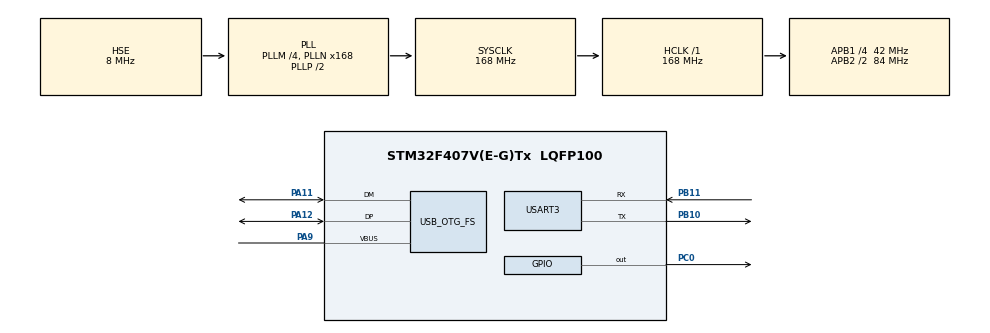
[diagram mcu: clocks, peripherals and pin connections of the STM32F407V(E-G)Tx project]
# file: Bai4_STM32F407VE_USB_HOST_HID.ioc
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Mcu.Family=STM32F4
PH0-OSC_IN.Signal=RCC_OSC_IN
RCC.CortexFreq_Value=168000000
PB10.Mode=Asynchronous
USB_HOST0.BSP.solution=PC0
USB_HOST.BSP.number=1
PA11.Mode=Host_Only
PC0.Signal=GPIO_Output
RCC.APB1CLKDivider=RCC_HCLK_DIV4
PB11.Signal=USART3_RX
VP_USB_HOST_VS_USB_HOST_HID_FS.Mode=HID_FS
RCC.SYSCLKSource=RCC_SYSCLKSOURCE_PLLCLK
ProjectManager.StackSize=0x400
USB_HOST0.BSP.STBoard=false
PA13.Signal=SYS_JTMS-SWDIO
PA9.Mode=Activate_VBUS
PA12.Signal=USB_OTG_FS_DP
PB11.Mode=Asynchronous
ProjectManager.TargetToolchain=MDK-ARM V5
RCC.HCLKFreq_Value=168000000
RCC.APB2TimFreq_Value=168000000
PA9.Signal=USB_OTG_FS_VBUS
USB_HOST0.BSP.ip=GPIO
RCC.LSE_VALUE=32768
RCC.AHBFreq_Value=168000000
PH0-OSC_IN.Mode=HSE-External-Oscillator
PB10.Signal=USART3_TX
RCC.HSE_VALUE=8000000
USB_OTG_FS.phy_itface=HCD_PHY_EMBEDDED
board=custom
RCC.VCOOutputFreq_Value=336000000
USB_HOST.VirtualModeFS=Hid
RCC.APB2Freq_Value=84000000
USB_HOST0.BSP.api=Unknown
PA14.Mode=Serial_Wire
USB_HOST.USBH_HandleTypeDef-HID_FS=hUsbHostFS
PH1-OSC_OUT.Signal=RCC_OSC_OUT
PA13.Mode=Serial_Wire
Mcu.Name=STM32F407V(E-G)Tx
PH1-OSC_OUT.Mode=HSE-External-Oscillator
RCC.48MHZClocksFreq_Value=48000000
USB_HOST0.BSP.i2caddr=0
RCC.SYSCLKFreq_VALUE=168000000
Mcu.Package=LQFP100
PA12.Mode=Host_Only
USART3.VirtualMode=VM_ASYNC
NVIC.OTG_FS_IRQn=true\:0\:0\:false\:false\:true\:false\:true
PA11.Signal=USB_OTG_FS_DM
PA14.Signal=SYS_JTCK-SWCLK
USB_OTG_FS.VirtualMode=Host_Only
ProjectManager.HeapSize=0x200
RCC.HSI_VALUE=16000000
RCC.PLLQ=7
NVIC.PriorityGroup=NVIC_PRIORITYGROUP_4
USB_HOST0.BSP.name=Drive_VBUS_FS
RCC.APB2CLKDivider=RCC_HCLK_DIV2
RCC.PLLM=4
RCC.PLLN=168
RCC.APB1TimFreq_Value=84000000
RCC.APB1Freq_Value=42000000
USB_HOST0.BSP.mode=Output
USB_HOST0.BSP.instance=PC0

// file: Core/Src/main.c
/* USER CODE BEGIN Header */
/**
  ******************************************************************************
  * @file           : main.c
  * @brief          : Main program body
  ******************************************************************************
  * @attention
  *
  * <h2><center>&copy; Copyright (c) 2022 STMicroelectronics.
  * All rights reserved.</center></h2>
  *
  * This software component is licensed by ST under Ultimate Liberty license
  * SLA0044, the "License"; You may not use this file except in compliance with
  * the License. You may obtain a copy of the License at:
  *                             www.st.com/SLA0044
  *
  ******************************************************************************
  */
/* USER CODE END Header */
#include "main.h"
#include "usb_host.h"

/* USER CODE BEGIN Includes */
#include "usbh_hid.h"
#include "stdio.h"
/* USER CODE END Includes */

UART_HandleTypeDef huart3;

/* USER CODE BEGIN PV */
char uart_buffer[100];
/* USER CODE END PV */

void SystemClock_Config(void);
static void MX_GPIO_Init(void);
static void MX_USART3_UART_Init(void);
void MX_USB_HOST_Process(void);

/* USER CODE BEGIN PFP */
void USBH_HID_EventCallback(USBH_HandleTypeDef *phost)
{
  if(USBH_HID_GetDeviceType(phost) == HID_MOUSE)
	{
		HID_MOUSE_Info_TypeDef *mouse_value;
		mouse_value = USBH_HID_GetMouseInfo(phost);
		int len = sprintf(uart_buffer, "X = %d, Y = %d, B1 = %d, B2 = %d, B3 = %d \n", mouse_value->x, mouse_value->y, mouse_value->buttons[0], mouse_value->buttons[1], mouse_value->buttons[2]);
		HAL_UART_Transmit(&huart3, (uint8_t*)uart_buffer, len, 1000);
	}

	if(USBH_HID_GetDeviceType(phost) == HID_KEYBOARD)
	{
		HID_KEYBD_Info_TypeDef *keyboard_value;
		keyboard_value = USBH_HID_GetKeybdInfo(phost);
		char key = USBH_HID_GetASCIICode(keyboard_value);

		int len = sprintf(uart_buffer, "Key pressed: %c \n", key);
		HAL_UART_Transmit(&huart3, (uint8_t*)uart_buffer, len, 1000);
	}
}
/* USER CODE END PFP */

int main(void)
{

  /* MCU Configuration--------------------------------------------------------*/

  /* Reset of all peripherals, Initializes the Flash interface and the Systick. */
  HAL_Init();

  /* Configure the system clock */
  SystemClock_Config();

  /* Initialize all configured peripherals */
  MX_GPIO_Init();
  MX_USB_HOST_Init();
  MX_USART3_UART_Init();

  /* Infinite loop */
  while (1)
  {
    MX_USB_HOST_Process();

  }
}

void SystemClock_Config(void)
{
  RCC_OscInitTypeDef RCC_OscInitStruct = {0};
  RCC_ClkInitTypeDef RCC_ClkInitStruct = {0};

  /** Configure the main internal regulator output voltage
  */
  __HAL_RCC_PWR_CLK_ENABLE();
  __HAL_PWR_VOLTAGESCALING_CONFIG(PWR_REGULATOR_VOLTAGE_SCALE1);
  /** Initializes the RCC Oscillators according to the specified parameters
  * in the RCC_OscInitTypeDef structure.
  */
  RCC_OscInitStruct.OscillatorType = RCC_OSCILLATORTYPE_HSE;
  RCC_OscInitStruct.HSEState = RCC_HSE_ON;
  RCC_OscInitStruct.PLL.PLLState = RCC_PLL_ON;
  RCC_OscInitStruct.PLL.PLLSource = RCC_PLLSOURCE_HSE;
  RCC_OscInitStruct.PLL.PLLM = 4;
  RCC_OscInitStruct.PLL.PLLN = 168;
  RCC_OscInitStruct.PLL.PLLP = RCC_PLLP_DIV2;
  RCC_OscInitStruct.PLL.PLLQ = 7;
  if (HAL_RCC_OscConfig(&RCC_OscInitStruct) != HAL_OK)
  {
    Error_Handler();
  }
  /** Initializes the CPU, AHB and APB buses clocks
  */
  RCC_ClkInitStruct.ClockType = RCC_CLOCKTYPE_HCLK|RCC_CLOCKTYPE_SYSCLK
                              |RCC_CLOCKTYPE_PCLK1|RCC_CLOCKTYPE_PCLK2;
  RCC_ClkInitStruct.SYSCLKSource = RCC_SYSCLKSOURCE_PLLCLK;
  RCC_ClkInitStruct.AHBCLKDivider = RCC_SYSCLK_DIV1;
  RCC_ClkInitStruct.APB1CLKDivider = RCC_HCLK_DIV4;
  RCC_ClkInitStruct.APB2CLKDivider = RCC_HCLK_DIV2;

  if (HAL_RCC_ClockConfig(&RCC_ClkInitStruct, FLASH_LATENCY_5) != HAL_OK)
  {
    Error_Handler();
  }
}

static void MX_USART3_UART_Init(void)
{

  huart3.Instance = USART3;
  huart3.Init.BaudRate = 115200;
  huart3.Init.WordLength = UART_WORDLENGTH_8B;
  huart3.Init.StopBits = UART_STOPBITS_1;
  huart3.Init.Parity = UART_PARITY_NONE;
  huart3.Init.Mode = UART_MODE_TX_RX;
  huart3.Init.HwFlowCtl = UART_HWCONTROL_NONE;
  huart3.Init.OverSampling = UART_OVERSAMPLING_16;
  if (HAL_UART_Init(&huart3) != HAL_OK)
  {
    Error_Handler();
  }

}

static void MX_GPIO_Init(void)
{
  GPIO_InitTypeDef GPIO_InitStruct = {0};

  /* GPIO Ports Clock Enable */
  __HAL_RCC_GPIOH_CLK_ENABLE();
  __HAL_RCC_GPIOC_CLK_ENABLE();
  __HAL_RCC_GPIOB_CLK_ENABLE();
  __HAL_RCC_GPIOA_CLK_ENABLE();

  /*Configure GPIO pin Output Level */
  HAL_GPIO_WritePin(GPIOC, GPIO_PIN_0, GPIO_PIN_RESET);

  /*Configure GPIO pin : PC0 */
  GPIO_InitStruct.Pin = GPIO_PIN_0;
  GPIO_InitStruct.Mode = GPIO_MODE_OUTPUT_PP;
  GPIO_InitStruct.Pull = GPIO_NOPULL;
  GPIO_InitStruct.Speed = GPIO_SPEED_FREQ_LOW;
  HAL_GPIO_Init(GPIOC, &GPIO_InitStruct);

}

void Error_Handler(void)
{
  __disable_irq();
  while (1)
  {
  }
}

/************************ (C) COPYRIGHT STMicroelectronics *****END OF FILE****/
